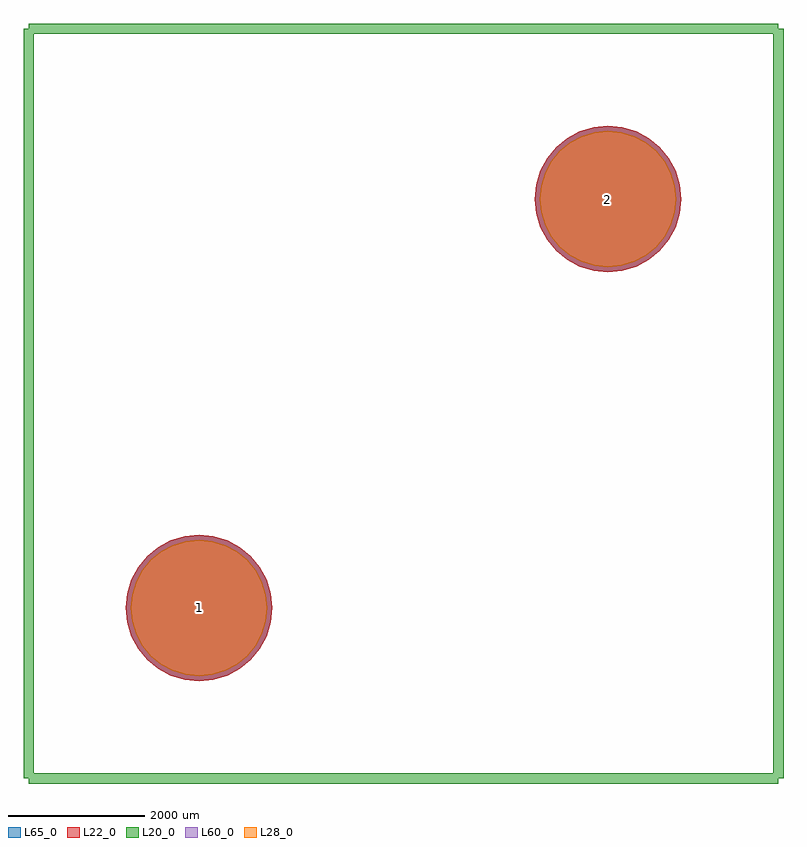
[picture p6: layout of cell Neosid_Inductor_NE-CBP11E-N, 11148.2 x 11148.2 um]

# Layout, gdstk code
import gdstk
lib = gdstk.Library(unit=1e-6, precision=1e-09)
def P(c, l, *ps):  # polygons
    for p in ps: c.add(gdstk.Polygon(p, *l))
L20_0 = (20, 0)
L22_0 = (22, 0)
L28_0 = (28, 0)
L60_0 = (60, 0)
L65_0 = (65, 0)

neosid_inductor_ne_cbp11 = lib.new_cell('Neosid_Inductor_NE-CBP11E-N')
P(neosid_inductor_ne_cbp11, L22_0, [(-1925.25,-2999.74),(-1945.896,-2790.117),(-2007.041,-2588.55),(-2106.334,-2402.785),(-2239.961,-2239.961),(-2402.785,-2106.334),(-2588.55,-2007.041),(-2790.117,-1945.896),(-2999.74,-1925.25),(-3209.363,-1945.896),(-3410.93,-2007.041),(-3596.695,-2106.334),(-3759.519,-2239.961),(-3893.146,-2402.785),(-3992.439,-2588.55),(-4053.584,-2790.117),(-4074.23,-2999.74),(-4053.584,-3209.363),(-3992.439,-3410.93),(-3893.146,-3596.695),(-3759.519,-3759.519),(-3596.695,-3893.146),(-3410.93,-3992.439),(-3209.363,-4053.584),(-2999.74,-4074.23),(-2790.117,-4053.584),(-2588.55,-3992.439),(-2402.785,-3893.146),(-2239.961,-3759.519),(-2106.334,-3596.695),(-2007.041,-3410.93),(-1945.896,-3209.363)],
  [(4074.23,2999.74),(4053.584,3209.363),(3992.439,3410.93),(3893.146,3596.695),(3759.519,3759.519),(3596.695,3893.146),(3410.93,3992.439),(3209.363,4053.584),(2999.74,4074.23),(2790.117,4053.584),(2588.55,3992.439),(2402.785,3893.146),(2239.961,3759.519),(2106.334,3596.695),(2007.041,3410.93),(1945.896,3209.363),(1925.25,2999.74),(1945.896,2790.117),(2007.041,2588.55),(2106.334,2402.785),(2239.961,2239.961),(2402.785,2106.334),(2588.55,2007.041),(2790.117,1945.896),(2999.74,1925.25),(3209.363,1945.896),(3410.93,2007.041),(3596.695,2106.334),(3759.519,2239.961),(3893.146,2402.785),(3992.439,2588.55),(4053.584,2790.117)])
P(neosid_inductor_ne_cbp11, L28_0, [(-2000.25,-2999.74),(-2019.455,-2804.749),(-2076.332,-2617.252),(-2168.694,-2444.453),(-2292.994,-2292.994),(-2444.453,-2168.694),(-2617.252,-2076.332),(-2804.749,-2019.455),(-2999.74,-2000.25),(-3194.731,-2019.455),(-3382.228,-2076.332),(-3555.027,-2168.694),(-3706.486,-2292.994),(-3830.786,-2444.453),(-3923.148,-2617.252),(-3980.025,-2804.749),(-3999.23,-2999.74),(-3980.025,-3194.731),(-3923.148,-3382.228),(-3830.786,-3555.027),(-3706.486,-3706.486),(-3555.027,-3830.786),(-3382.228,-3923.148),(-3194.731,-3980.025),(-2999.74,-3999.23),(-2804.749,-3980.025),(-2617.252,-3923.148),(-2444.453,-3830.786),(-2292.994,-3706.486),(-2168.694,-3555.027),(-2076.332,-3382.228),(-2019.455,-3194.731)],
  [(3999.23,2999.74),(3980.025,3194.731),(3923.148,3382.228),(3830.786,3555.027),(3706.486,3706.486),(3555.027,3830.786),(3382.228,3923.148),(3194.731,3980.025),(2999.74,3999.23),(2804.749,3980.025),(2617.252,3923.148),(2444.453,3830.786),(2292.994,3706.486),(2168.694,3555.027),(2076.332,3382.228),(2019.455,3194.731),(2000.25,2999.74),(2019.455,2804.749),(2076.332,2617.252),(2168.694,2444.453),(2292.994,2292.994),(2444.453,2168.694),(2617.252,2076.332),(2804.749,2019.455),(2999.74,2000.25),(3194.731,2019.455),(3382.228,2076.332),(3555.027,2168.694),(3706.486,2292.994),(3830.786,2444.453),(3923.148,2617.252),(3980.025,2804.749)])
P(neosid_inductor_ne_cbp11, L60_0, [(-2000.25,-2999.74),(-2019.455,-2804.749),(-2076.332,-2617.252),(-2168.694,-2444.453),(-2292.994,-2292.994),(-2444.453,-2168.694),(-2617.252,-2076.332),(-2804.749,-2019.455),(-2999.74,-2000.25),(-3194.731,-2019.455),(-3382.228,-2076.332),(-3555.027,-2168.694),(-3706.486,-2292.994),(-3830.786,-2444.453),(-3923.148,-2617.252),(-3980.025,-2804.749),(-3999.23,-2999.74),(-3980.025,-3194.731),(-3923.148,-3382.228),(-3830.786,-3555.027),(-3706.486,-3706.486),(-3555.027,-3830.786),(-3382.228,-3923.148),(-3194.731,-3980.025),(-2999.74,-3999.23),(-2804.749,-3980.025),(-2617.252,-3923.148),(-2444.453,-3830.786),(-2292.994,-3706.486),(-2168.694,-3555.027),(-2076.332,-3382.228),(-2019.455,-3194.731)],
  [(3999.23,2999.74),(3980.025,3194.731),(3923.148,3382.228),(3830.786,3555.027),(3706.486,3706.486),(3555.027,3830.786),(3382.228,3923.148),(3194.731,3980.025),(2999.74,3999.23),(2804.749,3980.025),(2617.252,3923.148),(2444.453,3830.786),(2292.994,3706.486),(2168.694,3555.027),(2076.332,3382.228),(2019.455,3194.731),(2000.25,2999.74),(2019.455,2804.749),(2076.332,2617.252),(2168.694,2444.453),(2292.994,2292.994),(2444.453,2168.694),(2617.252,2076.332),(2804.749,2019.455),(2999.74,2000.25),(3194.731,2019.455),(3382.228,2076.332),(3555.027,2168.694),(3706.486,2292.994),(3830.786,2444.453),(3923.148,2617.252),(3980.025,2804.749)])
P(neosid_inductor_ne_cbp11, L65_0, [(-1925.25,-2999.74),(-1945.896,-2790.117),(-2007.041,-2588.55),(-2106.334,-2402.785),(-2239.961,-2239.961),(-2402.785,-2106.334),(-2588.55,-2007.041),(-2790.117,-1945.896),(-2999.74,-1925.25),(-3209.363,-1945.896),(-3410.93,-2007.041),(-3596.695,-2106.334),(-3759.519,-2239.961),(-3893.146,-2402.785),(-3992.439,-2588.55),(-4053.584,-2790.117),(-4074.23,-2999.74),(-4053.584,-3209.363),(-3992.439,-3410.93),(-3893.146,-3596.695),(-3759.519,-3759.519),(-3596.695,-3893.146),(-3410.93,-3992.439),(-3209.363,-4053.584),(-2999.74,-4074.23),(-2790.117,-4053.584),(-2588.55,-3992.439),(-2402.785,-3893.146),(-2239.961,-3759.519),(-2106.334,-3596.695),(-2007.041,-3410.93),(-1945.896,-3209.363)],
  [(4074.23,2999.74),(4053.584,3209.363),(3992.439,3410.93),(3893.146,3596.695),(3759.519,3759.519),(3596.695,3893.146),(3410.93,3992.439),(3209.363,4053.584),(2999.74,4074.23),(2790.117,4053.584),(2588.55,3992.439),(2402.785,3893.146),(2239.961,3759.519),(2106.334,3596.695),(2007.041,3410.93),(1945.896,3209.363),(1925.25,2999.74),(1945.896,2790.117),(2007.041,2588.55),(2106.334,2402.785),(2239.961,2239.961),(2402.785,2106.334),(2588.55,2007.041),(2790.117,1945.896),(2999.74,1925.25),(3209.363,1945.896),(3410.93,2007.041),(3596.695,2106.334),(3759.519,2239.961),(3893.146,2402.785),(3992.439,2588.55),(4053.584,2790.117)])
neosid_inductor_ne_cbp11.add(gdstk.FlexPath([(-5499.1,-5499.1),(-5499.1,5499.1)], 149.998, ends="flush", simple_path=True, layer=20, datatype=0))  # L20_0
neosid_inductor_ne_cbp11.add(gdstk.FlexPath([(5499.1,-5499.1),(-5499.1,-5499.1)], 149.998, ends="flush", simple_path=True, layer=20, datatype=0))  # L20_0
neosid_inductor_ne_cbp11.add(gdstk.FlexPath([(5499.1,5499.1),(5499.1,-5499.1)], 149.998, ends="flush", simple_path=True, layer=20, datatype=0))  # L20_0
neosid_inductor_ne_cbp11.add(gdstk.FlexPath([(-5499.1,5499.1),(5499.1,5499.1)], 149.998, ends="flush", simple_path=True, layer=20, datatype=0))  # L20_0
neosid_inductor_ne_cbp11.add(gdstk.Label('1', (-2999.74,-2999.74), layer=28, texttype=0))
neosid_inductor_ne_cbp11.add(gdstk.Label('2', (2999.74,2999.74), layer=28, texttype=0))
neosid_inductor_ne_cbp11.add(gdstk.Label('type', (500.38,-8498.84), layer=9, texttype=0))
neosid_inductor_ne_cbp11.add(gdstk.Label('devicename', (0,7000.24), layer=9, texttype=0))

lib.write_gds('Neosid_Inductor_NE-CBP11E-N.gds')
